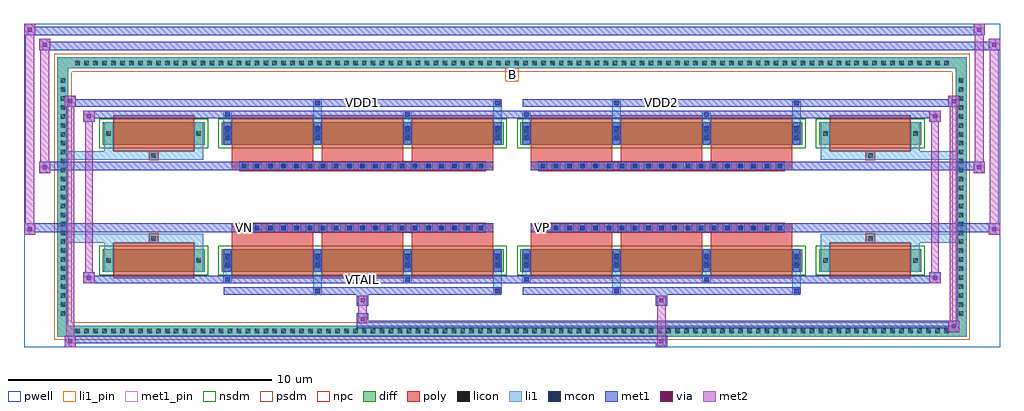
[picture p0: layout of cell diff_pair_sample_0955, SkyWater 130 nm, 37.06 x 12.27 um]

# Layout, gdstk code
import gdstk
lib = gdstk.Library(unit=1e-6, precision=5e-09)
def R(c, l, rs):  # rectangles x0, y0, x1, y1
    for r in rs: c.add(gdstk.rectangle(r[:2], r[2:], *l))
def A(c, l, x, y, w, h, nx, ny, dx, dy):  # array of equal rectangles
    R(c, l, [(x+i*dx, y+j*dy, x+i*dx+w, y+j*dy+h) for i in range(nx) for j in range(ny)])
def P(c, l, *ps):  # polygons
    for p in ps: c.add(gdstk.Polygon(p, *l))
pwell = (64, 44)
diff = (65, 20)
poly = (66, 20)
licon = (66, 44)
li1_pin = (67, 16)
li1 = (67, 20)
mcon = (67, 44)
met1_pin = (68, 16)
met1 = (68, 20)
via = (68, 44)
met2 = (69, 20)
nsdm = (93, 44)
psdm = (94, 20)
npc = (95, 20)

diff_pair_sample_0955 = lib.new_cell('diff_pair_sample_0955')
R(diff_pair_sample_0955, pwell, [(-18.53,-5.7,18.53,6.57), (-15.85,-3.89,-0.01,-0.805), (0.01,-3.89,15.85,-0.805), (-15.85,0.805,-0.01,3.89), (0.01,0.805,15.85,3.89)])
A(diff_pair_sample_0955, diff, -16.695, -5.3, 0.41, 0.41, 98, 2, 0.34, 10.19)
A(diff_pair_sample_0955, diff, -17.26, -4.625, 0.41, 0.41, 1, 27, 0, 0.34)
A(diff_pair_sample_0955, diff, 16.85, -4.625, 0.41, 0.41, 1, 27, 0, 0.34)
R(diff_pair_sample_0955, diff, [(-16.695,-5.3,16.695,-4.89), (-17.26,-4.625,-16.85,4.625), (16.85,-4.625,17.26,4.625), (-15.54,-2.845,-11.67,-1.985), (-11.03,-2.845,-0.32,-1.985), (0.32,-2.845,11.03,-1.985), (11.67,-2.845,15.54,-1.985), (-15.54,1.985,-11.67,2.845), (-11.03,1.985,-0.32,2.845), (0.32,1.985,11.03,2.845), (11.67,1.985,15.54,2.845), (-16.695,4.89,16.695,5.3)])
P(diff_pair_sample_0955, diff, [(17.26,5.3),(-17.26,5.3),(-17.26,-4.89),(-16.85,-4.89),(-16.85,4.89),(16.85,4.89),(16.85,-4.89),(-16.85,-4.89),(-17.26,-4.89),(-17.26,-5.3),(17.26,-5.3)])
A(diff_pair_sample_0955, poly, -10.64, -3.095, 3.09, 1.36, 3, 2, 3.42, 4.83)
A(diff_pair_sample_0955, poly, 0.71, -3.095, 3.09, 1.36, 3, 2, 3.42, 4.83)
A(diff_pair_sample_0955, poly, -10.64, -1.735, 3.09, 0.4, 3, 2, 3.42, 3.07)
A(diff_pair_sample_0955, poly, 0.71, -1.735, 3.09, 0.4, 3, 2, 3.42, 3.07)
A(diff_pair_sample_0955, poly, -10.34, -1.335, 0.33, 0.33, 19, 2, 0.5, 2.34)
A(diff_pair_sample_0955, poly, 1.01, -1.335, 0.33, 0.33, 19, 2, 0.5, 2.34)
R(diff_pair_sample_0955, poly, [(-15.15,-3.095,-12.06,-1.735), (12.06,-3.095,15.15,-1.735), (-13.77,-1.735,-13.44,-1.405), (-13.77,-1.735,-13.44,-1.405), (13.44,-1.735,13.77,-1.405), (13.44,-1.735,13.77,-1.405), (-10.64,-1.335,-0.71,-1.005), (0.71,-1.335,10.64,-1.005), (-10.64,1.005,-0.71,1.335), (0.71,1.005,10.64,1.335), (-13.77,1.405,-13.44,1.735), (-13.77,1.405,-13.44,1.735), (13.44,1.405,13.77,1.735), (13.44,1.405,13.77,1.735), (-15.15,1.735,-12.06,3.095), (12.06,1.735,15.15,3.095)])
A(diff_pair_sample_0955, licon, -16.575, -5.18, 0.17, 0.17, 98, 2, 0.34, 10.19)
A(diff_pair_sample_0955, licon, -17.14, -4.505, 0.17, 0.17, 1, 27, 0, 0.34)
A(diff_pair_sample_0955, licon, 16.97, -4.505, 0.17, 0.17, 1, 27, 0, 0.34)
A(diff_pair_sample_0955, licon, -10.89, -2.5, 0.17, 0.17, 4, 2, 3.42, 4.83)
A(diff_pair_sample_0955, licon, 0.46, -2.5, 0.17, 0.17, 4, 2, 3.42, 4.83)
A(diff_pair_sample_0955, licon, -10.26, -1.255, 0.17, 0.17, 19, 2, 0.5, 2.34)
A(diff_pair_sample_0955, licon, 1.09, -1.255, 0.17, 0.17, 19, 2, 0.5, 2.34)
R(diff_pair_sample_0955, licon, [(-15.4,-2.5,-15.23,-2.33), (-11.98,-2.5,-11.81,-2.33), (11.81,-2.5,11.98,-2.33), (15.23,-2.5,15.4,-2.33), (-13.69,-1.655,-13.52,-1.485), (13.52,-1.655,13.69,-1.485), (-13.69,1.485,-13.52,1.655), (13.52,1.485,13.69,1.655), (-15.4,2.33,-15.23,2.5), (-11.98,2.33,-11.81,2.5), (11.81,2.33,11.98,2.5), (15.23,2.33,15.4,2.5)])
R(diff_pair_sample_0955, li1_pin, [(-0.25,4.39,0.25,4.89)])
A(diff_pair_sample_0955, li1, -16.655, -5.26, 0.33, 0.33, 98, 2, 0.34, 10.19)
A(diff_pair_sample_0955, li1, -17.22, -4.585, 0.33, 0.33, 1, 27, 0, 0.34)
A(diff_pair_sample_0955, li1, 16.89, -4.585, 0.33, 0.33, 1, 27, 0, 0.34)
A(diff_pair_sample_0955, li1, -10.97, -2.845, 0.33, 0.86, 4, 2, 3.42, 4.83)
A(diff_pair_sample_0955, li1, 0.38, -2.845, 0.33, 0.86, 4, 2, 3.42, 4.83)
A(diff_pair_sample_0955, li1, -10.89, -2.68, 0.17, 0.17, 4, 2, 3.42, 0.36)
A(diff_pair_sample_0955, li1, -10.89, -2.68, 0.17, 0.53, 4, 2, 3.42, 4.83)
A(diff_pair_sample_0955, li1, 0.46, -2.68, 0.17, 0.17, 4, 2, 3.42, 0.36)
A(diff_pair_sample_0955, li1, 0.46, -2.68, 0.17, 0.53, 4, 2, 3.42, 4.83)
A(diff_pair_sample_0955, li1, -10.97, -2.58, 0.33, 0.33, 4, 2, 3.42, 4.83)
A(diff_pair_sample_0955, li1, 0.38, -2.58, 0.33, 0.33, 4, 2, 3.42, 4.83)
A(diff_pair_sample_0955, li1, -10.34, -1.335, 0.33, 0.33, 19, 2, 0.5, 2.34)
A(diff_pair_sample_0955, li1, 1.01, -1.335, 0.33, 0.33, 19, 2, 0.5, 2.34)
A(diff_pair_sample_0955, li1, -10.89, 2.15, 0.17, 0.17, 4, 2, 3.42, 0.36)
A(diff_pair_sample_0955, li1, 0.46, 2.15, 0.17, 0.17, 4, 2, 3.42, 0.36)
R(diff_pair_sample_0955, li1, [(-17.26,-5.3,-16.85,-4.89), (-17.26,-5.3,-16.85,-4.89), (-16.85,-5.3,16.85,-4.89), (16.85,-5.3,17.26,-4.89), (16.85,-5.3,17.26,-4.89), (-17.26,-4.89,-16.85,4.89), (16.85,-4.89,17.26,4.89), (-7.55,-3.65,-7.22,-2.845), (-7.47,-3.65,-7.3,-3.48), (-0.71,-3.65,-0.38,-2.845), (-0.63,-3.65,-0.46,-3.48), (3.8,-3.65,4.13,-2.845), (3.88,-3.65,4.05,-3.48), (10.64,-3.65,10.97,-2.845), (10.72,-3.65,10.89,-3.48), (-10.97,-3.22,-10.64,-2.845), (-10.89,-3.22,-10.72,-3.05), (-4.13,-3.22,-3.8,-2.845), (-4.05,-3.22,-3.88,-3.05), (0.38,-3.22,0.71,-2.845), (0.46,-3.22,0.63,-3.05), (7.22,-3.22,7.55,-2.845), (7.3,-3.22,7.47,-3.05), (-15.48,-2.845,-15.15,-1.985), (-12.06,-2.845,-11.73,-1.985), (11.73,-2.845,12.06,-1.985), (15.15,-2.845,15.48,-1.985), (-15.48,-2.58,-15.15,-2.25), (-12.06,-2.58,-11.73,-2.25), (11.73,-2.58,12.06,-2.25), (15.15,-2.58,15.48,-2.25), (-15.48,-1.985,-15.15,-1.405), (-12.06,-1.985,-11.73,-1.405), (11.73,-1.985,12.06,-1.405), (15.15,-1.985,15.48,-1.405), (-17.26,-1.735,-13.77,-1.405), (-15.48,-1.735,-13.77,-1.405), (-13.77,-1.735,-13.44,-1.405), (-13.44,-1.735,-11.73,-1.405), (11.73,-1.735,13.44,-1.405), (13.44,-1.735,13.77,-1.405), (13.44,-1.735,17.26,-1.405), (13.77,-1.735,15.48,-1.405), (-17.26,1.405,-13.77,1.735), (-15.48,1.405,-13.77,1.735), (-15.48,1.405,-15.15,1.985), (-13.77,1.405,-13.44,1.735), (-13.44,1.405,-11.73,1.735), (-12.06,1.405,-11.73,1.985), (11.73,1.405,13.44,1.735), (11.73,1.405,12.06,1.985), (13.44,1.405,13.77,1.735), (13.44,1.405,17.26,1.735), (13.77,1.405,15.48,1.735), (15.15,1.405,15.48,1.985), (-15.48,1.985,-15.15,2.845), (-12.06,1.985,-11.73,2.845), (11.73,1.985,12.06,2.845), (15.15,1.985,15.48,2.845), (-15.48,2.25,-15.15,2.58), (-12.06,2.25,-11.73,2.58), (11.73,2.25,12.06,2.58), (15.15,2.25,15.48,2.58), (-10.97,2.845,-10.64,3.22), (-7.55,2.845,-7.22,3.65), (-4.13,2.845,-3.8,3.22), (-0.71,2.845,-0.38,3.65), (0.38,2.845,0.71,3.22), (3.8,2.845,4.13,3.65), (7.22,2.845,7.55,3.22), (10.64,2.845,10.97,3.65), (-10.89,3.05,-10.72,3.22), (-4.05,3.05,-3.88,3.22), (0.46,3.05,0.63,3.22), (7.3,3.05,7.47,3.22), (-7.47,3.48,-7.3,3.65), (-0.63,3.48,-0.46,3.65), (3.88,3.48,4.05,3.65), (10.72,3.48,10.89,3.65), (-17.26,4.89,-16.85,5.3), (-17.26,4.89,-16.85,5.3), (-16.85,4.89,16.85,5.3), (16.85,4.89,17.26,5.3), (16.85,4.89,17.26,5.3)])
A(diff_pair_sample_0955, mcon, -10.89, -2.68, 0.17, 0.17, 4, 2, 3.42, 0.36)
A(diff_pair_sample_0955, mcon, 0.46, -2.68, 0.17, 0.17, 4, 2, 3.42, 0.36)
A(diff_pair_sample_0955, mcon, -10.26, -1.255, 0.17, 0.17, 19, 2, 0.5, 2.34)
A(diff_pair_sample_0955, mcon, 1.09, -1.255, 0.17, 0.17, 19, 2, 0.5, 2.34)
A(diff_pair_sample_0955, mcon, -10.89, 2.15, 0.17, 0.17, 4, 2, 3.42, 0.36)
A(diff_pair_sample_0955, mcon, 0.46, 2.15, 0.17, 0.17, 4, 2, 3.42, 0.36)
R(diff_pair_sample_0955, mcon, [(-7.47,-3.65,-7.3,-3.48), (-0.63,-3.65,-0.46,-3.48), (3.88,-3.65,4.05,-3.48), (10.72,-3.65,10.89,-3.48), (-10.89,-3.22,-10.72,-3.05), (-4.05,-3.22,-3.88,-3.05), (0.46,-3.22,0.63,-3.05), (7.3,-3.22,7.47,-3.05), (-10.89,3.05,-10.72,3.22), (-4.05,3.05,-3.88,3.22), (0.46,3.05,0.63,3.22), (7.3,3.05,7.47,3.22), (-7.47,3.48,-7.3,3.65), (-0.63,3.48,-0.46,3.65), (3.88,3.48,4.05,3.65), (10.72,3.48,10.89,3.65)])
R(diff_pair_sample_0955, met1_pin, [(-5.81,-3.26,-5.54,-2.99), (-10.31,-1.295,-10.04,-1.025), (1.04,-1.295,1.31,-1.025), (-5.81,3.44,-5.54,3.71), (5.54,3.44,5.81,3.71)])
A(diff_pair_sample_0955, met1, -10.95, -2.845, 0.29, 0.86, 4, 2, 3.42, 4.83)
A(diff_pair_sample_0955, met1, 0.4, -2.845, 0.29, 0.86, 4, 2, 3.42, 4.83)
A(diff_pair_sample_0955, met1, -10.95, -2.74, 0.29, 0.29, 4, 2, 3.42, 0.36)
A(diff_pair_sample_0955, met1, 0.4, -2.74, 0.29, 0.29, 4, 2, 3.42, 0.36)
A(diff_pair_sample_0955, met1, -10.32, -1.315, 0.29, 0.29, 19, 2, 0.5, 2.34)
A(diff_pair_sample_0955, met1, 1.03, -1.315, 0.29, 0.29, 19, 2, 0.5, 2.34)
A(diff_pair_sample_0955, met1, -10.95, 2.09, 0.29, 0.29, 4, 2, 3.42, 0.36)
A(diff_pair_sample_0955, met1, 0.4, 2.09, 0.29, 0.29, 4, 2, 3.42, 0.36)
R(diff_pair_sample_0955, met1, [(-16.99,-5.7,-16.56,-5.27), (5.46,-5.7,5.89,-5.27), (-16.99,-5.56,5.89,-5.27), (16.56,-5.13,16.99,-4.7), (-5.89,-4.99,16.99,-4.7), (-5.89,-4.85,-5.46,-4.42), (-5.89,-4.14,-5.46,-3.71), (5.46,-4.14,5.89,-3.71), (-10.95,-3.71,-0.4,-3.42), (-7.53,-3.71,-7.24,-3.42), (-0.69,-3.71,-0.4,-3.42), (0.4,-3.71,10.95,-3.42), (3.82,-3.71,4.11,-3.42), (10.66,-3.71,10.95,-3.42), (-16.28,-3.28,-15.85,-2.85), (-16.28,-3.28,-10.95,-2.99), (-10.95,-3.28,-10.66,-2.99), (-10.95,-3.28,-0.4,-2.99), (-4.11,-3.28,-3.82,-2.99), (-0.4,-3.28,0.4,-2.99), (0.4,-3.28,0.69,-2.99), (0.4,-3.28,10.95,-2.99), (7.24,-3.28,7.53,-2.99), (10.95,-3.28,16.28,-2.99), (15.85,-3.28,16.28,-2.85), (-18.53,-1.435,-18.1,-1.005), (18.1,-1.435,18.53,-1.005), (-18.53,-1.335,-0.71,-1.005), (-10.64,-1.335,-0.71,-1.005), (0.71,-1.335,10.64,-1.005), (0.71,-1.335,18.53,-1.005), (-17.96,0.905,-17.53,1.335), (17.53,0.905,17.96,1.335), (-17.96,1.005,-10.64,1.335), (-10.64,1.005,-0.71,1.335), (0.71,1.005,10.64,1.335), (10.64,1.005,17.96,1.335), (-16.28,2.85,-15.85,3.28), (15.85,2.85,16.28,3.28), (-16.28,2.99,-10.95,3.28), (-10.95,2.99,-10.66,3.28), (-10.95,2.99,-0.4,3.28), (-4.11,2.99,-3.82,3.28), (-0.4,2.99,0.4,3.28), (0.4,2.99,0.69,3.28), (0.4,2.99,10.95,3.28), (7.24,2.99,7.53,3.28), (10.95,2.99,16.28,3.28), (-16.99,3.42,-16.56,3.85), (-16.99,3.42,-10.95,3.71), (-10.95,3.42,-0.4,3.71), (-7.53,3.42,-7.24,3.71), (-0.69,3.42,-0.4,3.71), (0.4,3.42,10.95,3.71), (3.82,3.42,4.11,3.71), (10.66,3.42,10.95,3.71), (10.95,3.42,16.99,3.71), (16.56,3.42,16.99,3.85), (-17.96,5.57,-17.53,6), (-17.96,5.57,-15.85,5.9), (-15.85,5.57,15.85,5.9), (15.85,5.57,18.53,5.9), (18.1,5.57,18.53,6), (-18.53,6.14,-18.1,6.57), (-18.53,6.14,-15.85,6.47), (-15.85,6.14,15.85,6.47), (15.85,6.14,17.96,6.47), (17.53,6.14,17.96,6.57)])
R(diff_pair_sample_0955, via, [(-16.85,-5.56,-16.7,-5.41), (5.6,-5.56,5.75,-5.41), (16.7,-4.99,16.85,-4.84), (-5.75,-4.71,-5.6,-4.56), (-5.75,-4,-5.6,-3.85), (5.6,-4,5.75,-3.85), (-16.14,-3.14,-15.99,-2.99), (15.99,-3.14,16.14,-2.99), (-18.39,-1.295,-18.24,-1.145), (18.24,-1.295,18.39,-1.145), (-17.82,1.045,-17.67,1.195), (17.67,1.045,17.82,1.195), (-16.14,2.99,-15.99,3.14), (15.99,2.99,16.14,3.14), (-16.85,3.56,-16.7,3.71), (16.7,3.56,16.85,3.71), (-17.82,5.71,-17.67,5.86), (18.24,5.71,18.39,5.86), (-18.39,6.28,-18.24,6.43), (17.67,6.28,17.82,6.43)])
R(diff_pair_sample_0955, met2, [(-16.99,-5.7,-16.56,-5.27), (-16.92,-5.7,-16.63,3.85), (-16.63,-5.7,-16.56,-5.27), (-16.94,-5.65,-16.61,-5.32), (5.51,-5.65,5.84,-5.32), (5.51,-5.32,5.84,-4.09), (16.56,-5.13,16.99,-4.7), (16.63,-5.13,16.92,3.85), (16.92,-5.13,16.99,-4.7), (16.61,-5.08,16.94,-4.75), (-5.84,-4.8,-5.51,-4.47), (-5.84,-4.47,-5.51,-4.09), (-5.84,-4.09,-5.51,-3.76), (5.51,-4.09,5.84,-3.76), (-16.28,-3.28,-15.85,-2.85), (-16.21,-3.28,-15.92,3.28), (-15.92,-3.28,-15.85,-2.85), (15.85,-3.28,16.28,-2.85), (15.92,-3.28,16.21,3.28), (16.21,-3.28,16.28,-2.85), (-16.23,-3.23,-15.9,-2.9), (15.9,-3.23,16.23,-2.9), (-18.53,-1.435,-18.1,-1.005), (-18.48,-1.435,-18.15,6.57), (-18.15,-1.435,-18.1,-1.005), (18.1,-1.435,18.53,-1.005), (18.15,-1.435,18.48,6), (18.48,-1.435,18.53,-1.005), (-18.48,-1.385,-18.15,-1.055), (18.15,-1.385,18.48,-1.055), (-17.96,0.905,-17.53,1.335), (-17.91,0.905,-17.58,6), (-17.58,0.905,-17.53,1.335), (17.53,0.905,17.96,1.335), (17.58,0.905,17.91,6.57), (17.91,0.905,17.96,1.335), (-17.91,0.955,-17.58,1.285), (17.58,0.955,17.91,1.285), (-16.28,2.85,-15.85,3.28), (-15.92,2.85,-15.85,3.28), (15.85,2.85,16.28,3.28), (16.21,2.85,16.28,3.28), (-16.23,2.9,-15.9,3.23), (15.9,2.9,16.23,3.23), (-16.99,3.42,-16.56,3.85), (-16.63,3.42,-16.56,3.85), (16.56,3.42,16.99,3.85), (16.92,3.42,16.99,3.85), (-16.94,3.47,-16.61,3.8), (16.61,3.47,16.94,3.8), (-17.96,5.57,-17.53,6), (-17.58,5.57,-17.53,6), (18.1,5.57,18.53,6), (18.48,5.57,18.53,6), (-17.91,5.62,-17.58,5.95), (18.15,5.62,18.48,5.95), (-18.53,6.14,-18.1,6.57), (-18.15,6.14,-18.1,6.57), (17.53,6.14,17.96,6.57), (17.91,6.14,17.96,6.57), (-18.48,6.19,-18.15,6.52), (17.58,6.19,17.91,6.52)])
R(diff_pair_sample_0955, nsdm, [(-15.67,-2.975,-11.54,-1.855), (-11.16,-2.975,-0.19,-1.855), (0.19,-2.975,11.16,-1.855), (11.54,-2.975,15.67,-1.855), (-15.67,1.855,-11.54,2.975), (-11.16,1.855,-0.19,2.975), (0.19,1.855,11.16,2.975), (11.54,1.855,15.67,2.975)])
P(diff_pair_sample_0955, psdm, [(17.39,5.43),(-17.39,5.43),(-17.39,-4.76),(-16.72,-4.76),(-16.72,4.76),(16.72,4.76),(16.72,-4.76),(-16.72,-4.76),(-17.39,-4.76),(-17.39,-5.43),(17.39,-5.43)])
A(diff_pair_sample_0955, npc, -10.36, -1.355, 0.37, 0.37, 19, 2, 0.5, 2.34)
A(diff_pair_sample_0955, npc, 0.99, -1.355, 0.37, 0.37, 19, 2, 0.5, 2.34)
R(diff_pair_sample_0955, npc, [(-13.79,-1.755,-13.42,-1.385), (13.42,-1.755,13.79,-1.385), (-10.36,-1.355,-9.49,-0.985), (-10.36,-1.355,-9.49,-0.985), (-9.86,-1.355,-8.99,-0.985), (-9.86,-1.355,-8.99,-0.985), (-9.36,-1.355,-8.49,-0.985), (-9.36,-1.355,-8.49,-0.985), (-8.86,-1.355,-7.99,-0.985), (-8.86,-1.355,-7.99,-0.985), (-8.36,-1.355,-7.49,-0.985), (-8.36,-1.355,-7.49,-0.985), (-7.86,-1.355,-6.99,-0.985), (-7.86,-1.355,-6.99,-0.985), (-7.36,-1.355,-6.49,-0.985), (-7.36,-1.355,-6.49,-0.985), (-6.86,-1.355,-5.99,-0.985), (-6.86,-1.355,-5.99,-0.985), (-6.36,-1.355,-5.49,-0.985), (-6.36,-1.355,-5.49,-0.985), (-5.86,-1.355,-4.99,-0.985), (-5.86,-1.355,-4.99,-0.985), (-5.36,-1.355,-4.49,-0.985), (-5.36,-1.355,-4.49,-0.985), (-4.86,-1.355,-3.99,-0.985), (-4.86,-1.355,-3.99,-0.985), (-4.36,-1.355,-3.49,-0.985), (-4.36,-1.355,-3.49,-0.985), (-3.86,-1.355,-2.99,-0.985), (-3.86,-1.355,-2.99,-0.985), (-3.36,-1.355,-2.49,-0.985), (-3.36,-1.355,-2.49,-0.985), (-2.86,-1.355,-1.99,-0.985), (-2.86,-1.355,-1.99,-0.985), (-2.36,-1.355,-1.49,-0.985), (-2.36,-1.355,-1.49,-0.985), (-1.86,-1.355,-0.99,-0.985), (-1.86,-1.355,-0.99,-0.985), (0.99,-1.355,1.86,-0.985), (0.99,-1.355,1.86,-0.985), (1.49,-1.355,2.36,-0.985), (1.49,-1.355,2.36,-0.985), (1.99,-1.355,2.86,-0.985), (1.99,-1.355,2.86,-0.985), (2.49,-1.355,3.36,-0.985), (2.49,-1.355,3.36,-0.985), (2.99,-1.355,3.86,-0.985), (2.99,-1.355,3.86,-0.985), (3.49,-1.355,4.36,-0.985), (3.49,-1.355,4.36,-0.985), (3.99,-1.355,4.86,-0.985), (3.99,-1.355,4.86,-0.985), (4.49,-1.355,5.36,-0.985), (4.49,-1.355,5.36,-0.985), (4.99,-1.355,5.86,-0.985), (4.99,-1.355,5.86,-0.985), (5.49,-1.355,6.36,-0.985), (5.49,-1.355,6.36,-0.985), (5.99,-1.355,6.86,-0.985), (5.99,-1.355,6.86,-0.985), (6.49,-1.355,7.36,-0.985), (6.49,-1.355,7.36,-0.985), (6.99,-1.355,7.86,-0.985), (6.99,-1.355,7.86,-0.985), (7.49,-1.355,8.36,-0.985), (7.49,-1.355,8.36,-0.985), (7.99,-1.355,8.86,-0.985), (7.99,-1.355,8.86,-0.985), (8.49,-1.355,9.36,-0.985), (8.49,-1.355,9.36,-0.985), (8.99,-1.355,9.86,-0.985), (8.99,-1.355,9.86,-0.985), (9.49,-1.355,10.36,-0.985), (9.49,-1.355,10.36,-0.985), (-10.36,0.985,-9.49,1.355), (-10.36,0.985,-9.49,1.355), (-9.86,0.985,-8.99,1.355), (-9.86,0.985,-8.99,1.355), (-9.36,0.985,-8.49,1.355), (-9.36,0.985,-8.49,1.355), (-8.86,0.985,-7.99,1.355), (-8.86,0.985,-7.99,1.355), (-8.36,0.985,-7.49,1.355), (-8.36,0.985,-7.49,1.355), (-7.86,0.985,-6.99,1.355), (-7.86,0.985,-6.99,1.355), (-7.36,0.985,-6.49,1.355), (-7.36,0.985,-6.49,1.355), (-6.86,0.985,-5.99,1.355), (-6.86,0.985,-5.99,1.355), (-6.36,0.985,-5.49,1.355), (-6.36,0.985,-5.49,1.355), (-5.86,0.985,-4.99,1.355), (-5.86,0.985,-4.99,1.355), (-5.36,0.985,-4.49,1.355), (-5.36,0.985,-4.49,1.355), (-4.86,0.985,-3.99,1.355), (-4.86,0.985,-3.99,1.355), (-4.36,0.985,-3.49,1.355), (-4.36,0.985,-3.49,1.355), (-3.86,0.985,-2.99,1.355), (-3.86,0.985,-2.99,1.355), (-3.36,0.985,-2.49,1.355), (-3.36,0.985,-2.49,1.355), (-2.86,0.985,-1.99,1.355), (-2.86,0.985,-1.99,1.355), (-2.36,0.985,-1.49,1.355), (-2.36,0.985,-1.49,1.355), (-1.86,0.985,-0.99,1.355), (-1.86,0.985,-0.99,1.355), (0.99,0.985,1.86,1.355), (0.99,0.985,1.86,1.355), (1.49,0.985,2.36,1.355), (1.49,0.985,2.36,1.355), (1.99,0.985,2.86,1.355), (1.99,0.985,2.86,1.355), (2.49,0.985,3.36,1.355), (2.49,0.985,3.36,1.355), (2.99,0.985,3.86,1.355), (2.99,0.985,3.86,1.355), (3.49,0.985,4.36,1.355), (3.49,0.985,4.36,1.355), (3.99,0.985,4.86,1.355), (3.99,0.985,4.86,1.355), (4.49,0.985,5.36,1.355), (4.49,0.985,5.36,1.355), (4.99,0.985,5.86,1.355), (4.99,0.985,5.86,1.355), (5.49,0.985,6.36,1.355), (5.49,0.985,6.36,1.355), (5.99,0.985,6.86,1.355), (5.99,0.985,6.86,1.355), (6.49,0.985,7.36,1.355), (6.49,0.985,7.36,1.355), (6.99,0.985,7.86,1.355), (6.99,0.985,7.86,1.355), (7.49,0.985,8.36,1.355), (7.49,0.985,8.36,1.355), (7.99,0.985,8.86,1.355), (7.99,0.985,8.86,1.355), (8.49,0.985,9.36,1.355), (8.49,0.985,9.36,1.355), (8.99,0.985,9.86,1.355), (8.99,0.985,9.86,1.355), (9.49,0.985,10.36,1.355), (9.49,0.985,10.36,1.355), (-13.79,1.385,-13.42,1.755), (13.42,1.385,13.79,1.755)])
diff_pair_sample_0955.add(gdstk.Label('VTAIL', (-5.675,-3.125), layer=68, texttype=5))
diff_pair_sample_0955.add(gdstk.Label('VN', (-10.175,-1.16), layer=68, texttype=5))
diff_pair_sample_0955.add(gdstk.Label('VP', (1.175,-1.16), layer=68, texttype=5))
diff_pair_sample_0955.add(gdstk.Label('B', (0,4.64), layer=67, texttype=5))
diff_pair_sample_0955.add(gdstk.Label('VDD2', (5.675,3.575), layer=68, texttype=5))
diff_pair_sample_0955.add(gdstk.Label('VDD1', (-5.675,3.575), layer=68, texttype=5))

lib.write_gds('diff_pair_sample_0955.gds')
